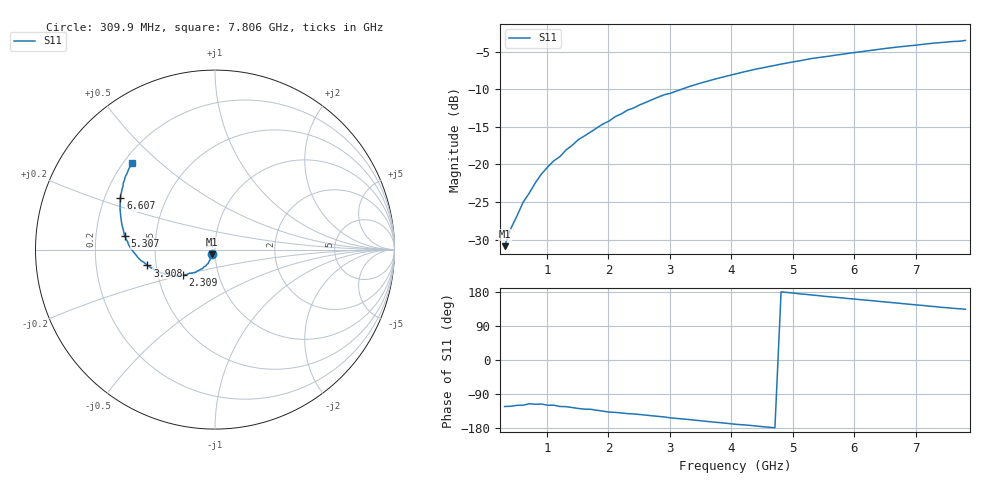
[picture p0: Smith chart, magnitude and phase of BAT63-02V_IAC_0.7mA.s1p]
! Infineon Technologies  Discrete & RF Semiconductors
! BAT63-02V
! IAC = 0.7 mA
! One-Port S-Parameters
# Hz  S  MA  R  50
!f  S11
!Hz  Mag  Ang
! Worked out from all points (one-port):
!   76 points, 309.9 MHz to 7.806 GHz, reference 50 ohm
!   lowest |S11| = -30.9 dB at 309.9 MHz (marker M1), VSWR 1.06, Z = 48.4 - j2.33 ohm
!   |S11| at or under -10 dB: start of sweep to 3.182 GHz
!   S11 on the Smith chart (normalised r, x): 309.9 MHz: 0.97, -0.05; 2.309 GHz: 0.67, -0.20; 3.908 GHz: 0.45, -0.09; 5.307 GHz: 0.33, +0.07; 6.607 GHz: 0.27, +0.24; 7.806 GHz: 0.23, +0.41
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3.0985e8  0.02857 -122.7
4.098e8  0.03736 -122.1
6.097e8  0.05593 -119.3
7.0965e8  0.06434 -115.5
8.096e8  0.07548 -116.8
9.0955e8  0.08646 -116.3
1.0095e9  0.09606 -119.3
1.10945e9  0.1057 -119.3
1.2094e9  0.1128 -122.7
1.30935e9  0.125 -123.2
1.50925e9  0.1464 -127.9
1.70915e9  0.1645 -130.1
1.90905e9  0.186 -134.9
2.2089e9  0.2173 -139.8
2.30885e9  0.23 -141.5
2.8086e9  0.2812 -148.7
3.2084e9  0.3189 -155.7
3.50825e9  0.3495 -160.4
3.90805e9  0.3864 -166.8
4.10795e9  0.4045 -170.1
4.30785e9  0.4231 -172.6
5.0075e9  0.4826 176.6
5.30735e9  0.5081 171.6
6.007e9  0.5567 160.7
6.6067e9  0.5989 151.5
6.90655e9  0.6179 147.0
7.4063e9  0.6484 139.1
7.8061e9  0.6699 133.9
